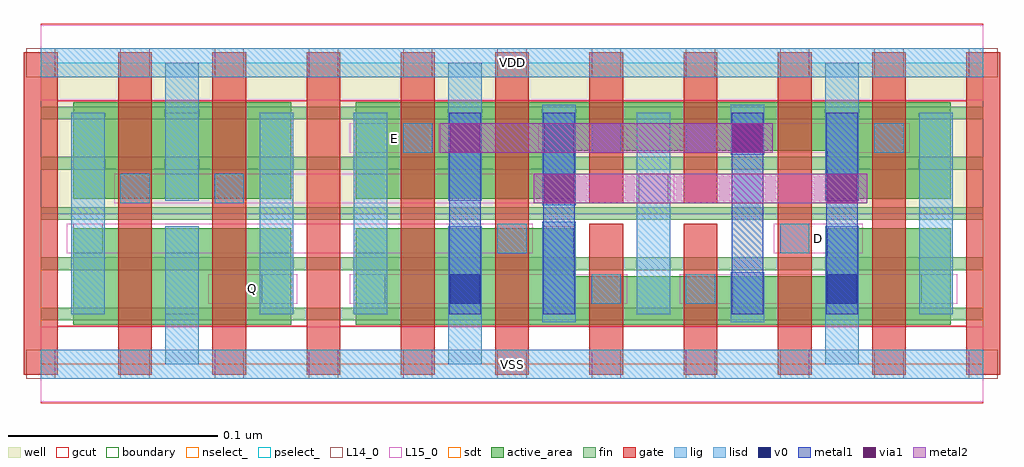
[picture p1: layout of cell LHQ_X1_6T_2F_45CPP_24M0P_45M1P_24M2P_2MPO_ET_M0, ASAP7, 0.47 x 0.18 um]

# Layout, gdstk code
import gdstk
lib = gdstk.Library(unit=1e-6, precision=2.5e-10)
def R(c, l, rs):  # rectangles x0, y0, x1, y1
    for r in rs: c.add(gdstk.rectangle(r[:2], r[2:], *l))
def A(c, l, x, y, w, h, nx, ny, dx, dy):  # array of equal rectangles
    R(c, l, [(x+i*dx, y+j*dy, x+i*dx+w, y+j*dy+h) for i in range(nx) for j in range(ny)])
well = (1, 0)
fin = (2, 0)
gate = (7, 0)
gcut = (10, 0)
active_area = (11, 0)
nselect_ = (12, 0)
pselect_ = (13, 0)
L14_0 = (14, 0)
L15_0 = (15, 0)
lig = (16, 0)
lisd = (17, 0)
v0 = (18, 0)
metal1 = (19, 0)
metal2 = (20, 0)
via1 = (21, 0)
sdt = (88, 0)
boundary = (100, 0)

lhq_x1_6t_2f_45cpp_24m0p = lib.new_cell('LHQ_X1_6T_2F_45CPP_24M0P_45M1P_24M2P_2MPO_ET_M0')
R(lhq_x1_6t_2f_45cpp_24m0p, well, [(0,0.072,0.45,0.144)])
A(lhq_x1_6t_2f_45cpp_24m0p, fin, 0, 0.021, 0.45, 0.006, 1, 5, 0, 0.024)
A(lhq_x1_6t_2f_45cpp_24m0p, gate, -0.008, -0.005, 0.016, 0.154, 6, 1, 0.045, 0)
A(lhq_x1_6t_2f_45cpp_24m0p, gate, 0.352, -0.005, 0.016, 0.154, 3, 1, 0.045, 0)
R(lhq_x1_6t_2f_45cpp_24m0p, gate, [(0.262,-0.005,0.278,0.067), (0.307,-0.005,0.323,0.067), (0.262,0.077,0.278,0.149), (0.307,0.077,0.323,0.149)])
R(lhq_x1_6t_2f_45cpp_24m0p, gcut, [(0,-0.0185,0.45,0.0185), (-0.008,-0.005,0.008,0.149), (0.127,-0.005,0.143,0.149), (0.442,-0.005,0.458,0.149), (0,0.1255,0.45,0.1625)])
A(lhq_x1_6t_2f_45cpp_24m0p, active_area, 0.2405, 0.019, 0.059, 0.023, 3, 2, 0.045, 0.083)
R(lhq_x1_6t_2f_45cpp_24m0p, active_area, [(0.0155,0.019,0.0745,0.065), (0.0605,0.019,0.1195,0.065), (0.1505,0.019,0.2095,0.065), (0.1955,0.019,0.2545,0.065), (0.3755,0.019,0.4345,0.065), (0.0155,0.079,0.0745,0.125), (0.0605,0.079,0.1195,0.125), (0.1505,0.079,0.2095,0.125), (0.1955,0.079,0.2545,0.125), (0.3755,0.079,0.4345,0.125)])
R(lhq_x1_6t_2f_45cpp_24m0p, nselect_, [(0,0,0.45,0.072)])
R(lhq_x1_6t_2f_45cpp_24m0p, pselect_, [(0,0.072,0.45,0.144)])
A(lhq_x1_6t_2f_45cpp_24m0p, L14_0, -0.007, -0.007, 0.014, 0.014, 11, 2, 0.045, 0.144)
R(lhq_x1_6t_2f_45cpp_24m0p, L14_0, [(0.1055,0.029,0.1195,0.043), (0.1505,0.029,0.1645,0.043), (0.263,0.029,0.277,0.043), (0.308,0.029,0.322,0.043), (0.4205,0.029,0.4345,0.043), (0.0155,0.053,0.0295,0.067), (0.218,0.053,0.232,0.067), (0.353,0.053,0.367,0.067), (0.038,0.077,0.052,0.091), (0.083,0.077,0.097,0.091), (0.2855,0.077,0.2995,0.091), (0.173,0.101,0.187,0.115), (0.263,0.101,0.277,0.115), (0.308,0.101,0.322,0.115), (0.398,0.101,0.412,0.115)])
R(lhq_x1_6t_2f_45cpp_24m0p, L15_0, [(0,-0.018,0.45,0.018), (0.08,0.029,0.1225,0.043), (0.1475,0.029,0.28,0.043), (0.305,0.029,0.4375,0.043), (0.0125,0.053,0.235,0.067), (0.35,0.053,0.3925,0.067), (0.035,0.077,0.3025,0.091), (0.1475,0.101,0.19,0.115), (0.2375,0.101,0.28,0.115), (0.305,0.101,0.415,0.115), (0,0.126,0.45,0.162)])
R(lhq_x1_6t_2f_45cpp_24m0p, lig, [(0,-0.007,0.45,0.007), (0.263,0.029,0.277,0.043), (0.308,0.029,0.322,0.043), (0.218,0.053,0.232,0.067), (0.353,0.053,0.367,0.067), (0.038,0.077,0.052,0.091), (0.083,0.077,0.097,0.091), (0.173,0.101,0.187,0.115), (0.263,0.101,0.277,0.115), (0.308,0.101,0.322,0.115), (0.398,0.101,0.412,0.115), (0,0.137,0.45,0.151)])
R(lhq_x1_6t_2f_45cpp_24m0p, lisd, [(0.0595,0,0.0755,0.066), (0.1945,0,0.2105,0.066), (0.3745,0,0.3905,0.066), (0.2395,0.02,0.2555,0.068), (0.3295,0.02,0.3455,0.044), (0.0145,0.024,0.0305,0.12), (0.1045,0.024,0.1205,0.12), (0.1495,0.024,0.1655,0.12), (0.2845,0.024,0.3005,0.12), (0.2845,0.024,0.3005,0.12), (0.4195,0.024,0.4355,0.12), (0.2395,0.076,0.2555,0.124), (0.0595,0.078,0.0755,0.144), (0.1945,0.078,0.2105,0.144), (0.3745,0.078,0.3905,0.144), (0.3295,0.1,0.3455,0.124)])
R(lhq_x1_6t_2f_45cpp_24m0p, v0, [(0.1955,0.029,0.2095,0.043), (0.3755,0.029,0.3895,0.043), (0.2405,0.101,0.2545,0.115), (0.3305,0.101,0.3445,0.115)])
R(lhq_x1_6t_2f_45cpp_24m0p, metal1, [(0.195,0.024,0.21,0.12), (0.24,0.024,0.255,0.12), (0.33,0.024,0.345,0.12), (0.375,0.024,0.39,0.12)])
R(lhq_x1_6t_2f_45cpp_24m0p, metal2, [(0.2355,0.077,0.3945,0.091), (0.1905,0.101,0.3495,0.115)])
R(lhq_x1_6t_2f_45cpp_24m0p, via1, [(0.2405,0.077,0.2545,0.091), (0.3755,0.077,0.3895,0.091), (0.1955,0.101,0.2095,0.115), (0.3305,0.101,0.3445,0.115)])
R(lhq_x1_6t_2f_45cpp_24m0p, sdt, [(0.0145,0.024,0.0305,0.12), (0.0595,0.024,0.0755,0.066), (0.1045,0.024,0.1205,0.12), (0.1495,0.024,0.1655,0.12), (0.1945,0.024,0.2105,0.066), (0.2395,0.024,0.2555,0.066), (0.2845,0.024,0.3005,0.12), (0.2845,0.024,0.3005,0.12), (0.3295,0.024,0.3455,0.042), (0.3745,0.024,0.3905,0.066), (0.4195,0.024,0.4355,0.12), (0.0595,0.078,0.0755,0.12), (0.1945,0.078,0.2105,0.12), (0.2395,0.078,0.2555,0.12), (0.3745,0.078,0.3905,0.12), (0.3295,0.102,0.3455,0.12)])
R(lhq_x1_6t_2f_45cpp_24m0p, boundary, [(0,0,0.45,0.144)])
lhq_x1_6t_2f_45cpp_24m0p.add(gdstk.Label('E', (0.1688,0.108), layer=15, texttype=251))
lhq_x1_6t_2f_45cpp_24m0p.add(gdstk.Label('D', (0.3713,0.06), layer=15, texttype=251))
lhq_x1_6t_2f_45cpp_24m0p.add(gdstk.Label('Q', (0.1013,0.036), layer=15, texttype=251))
lhq_x1_6t_2f_45cpp_24m0p.add(gdstk.Label('VDD', (0.225,0.144), layer=15, texttype=251))
lhq_x1_6t_2f_45cpp_24m0p.add(gdstk.Label('VSS', (0.225,0), layer=15, texttype=251))
lhq_x1_6t_2f_45cpp_24m0p.add(gdstk.Label('VDD', (0.225,0.144), layer=1, texttype=251))
lhq_x1_6t_2f_45cpp_24m0p.add(gdstk.Label('VSS', (0.225,0), layer=3, texttype=251))

lib.write_gds('LHQ_X1_6T_2F_45CPP_24M0P_45M1P_24M2P_2MPO_ET_M0.gds')
